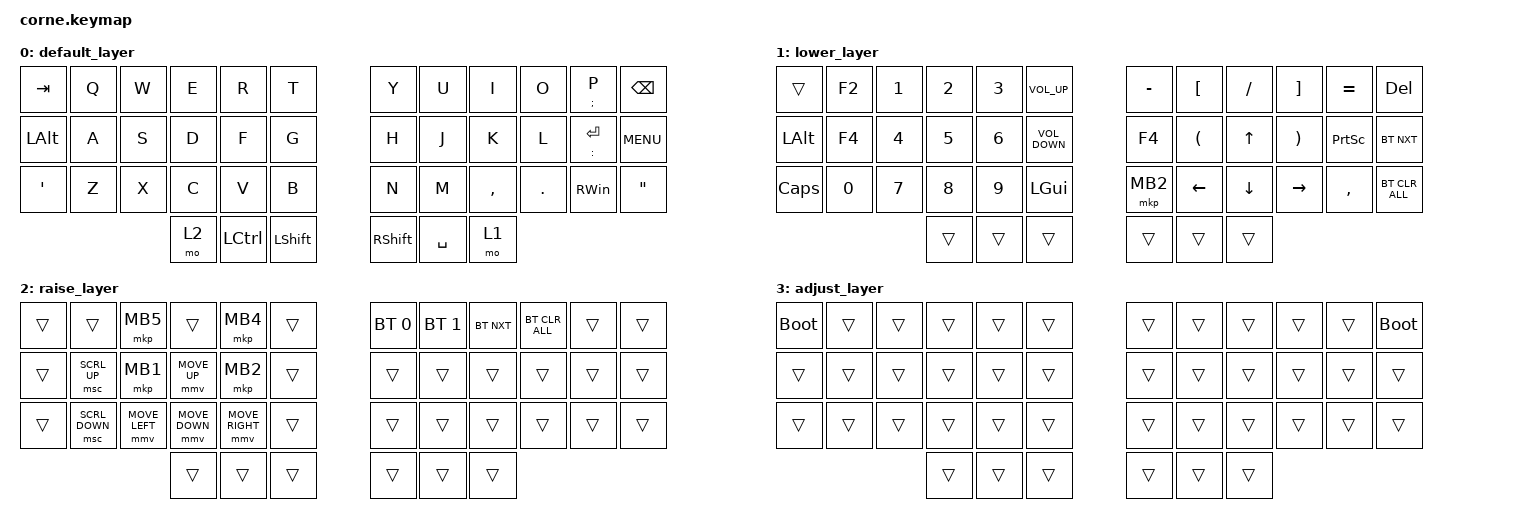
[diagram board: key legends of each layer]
/*
 * Copyright (c) 2020 The ZMK Contributors
 *
 * SPDX-License-Identifier: MIT
 */

#include <dt-bindings/zmk/mouse.h>
#include <behaviors.dtsi>
#include <dt-bindings/zmk/bt.h>
#include <dt-bindings/zmk/keys.h>
#include <dt-bindings/zmk/pointing.h>

/ {
    conditional_layers {
        compatible = "zmk,conditional-layers";

        adjust {
            if-layers = <1 2>;
            then-layer = <3>;
        };
    };

    behaviors {
        hold_tap: hold_tap {
            compatible = "zmk,behavior-hold-tap";
            label = "HOLD_TAP";
            bindings = <&kp>, <&kp>;

            #binding-cells = <2>;
            tapping-term-ms = <150>;
            flavor = "balanced";
        };
    };

    keymap {
        compatible = "zmk,keymap";

        default_layer {
            // -----------------------------------------------------------------------------------------
            // |  TAB |  Q  |  W  |  E  |  R  |  T  |   |  Y  |  U   |  I  |  O  |  P  | BKSP |
            // | CTRL |  A  |  S  |  D  |  F  |  G  |   |  H  |  J   |  K  |  L  |  ;  |  '   |
            // | SHFT |  Z  |  X  |  C  |  V  |  B  |   |  N  |  M   |  ,  |  .  |  /  | ESC  |
            //                    | GUI | LWR | SPC |   | ENT | RSE  | ALT |

            bindings = <
&kp TAB           &kp Q  &kp W  &kp E  &kp R      &kp T             &kp Y            &kp U      &kp I      &kp O    &hold_tap SEMI P       &kp BSPC
&kp LEFT_ALT      &kp A  &kp S  &kp D  &kp F      &kp G             &kp H            &kp J      &kp K      &kp L    &hold_tap COLON ENTER  &kp C_MENU
&kp SINGLE_QUOTE  &kp Z  &kp X  &kp C  &kp V      &kp B             &kp N            &kp M      &kp COMMA  &kp DOT  &kp RIGHT_WIN          &kp DOUBLE_QUOTES
                                &mo 2  &kp LCTRL  &kp LEFT_SHIFT    &kp RIGHT_SHIFT  &kp SPACE  &mo 1
            >;
        };

        lower_layer {
            // -----------------------------------------------------------------------------------------
            // |  TAB |  1  |  2  |  3  |  4  |  5  |   |  6  |  7  |  8  |  9  |  0  | BKSP |
            // | BTCLR| BT1 | BT2 | BT3 | BT4 | BT5 |   | LFT | DWN |  UP | RGT |     |      |
            // | SHFT |     |     |     |     |     |   |     |     |     |     |     |      |
            //                    | GUI |     | SPC |   | ENT |     | ALT |

            bindings = <
&trans        &kp F2  &kp NUMBER_1  &kp NUMBER_2  &kp NUMBER_3  &kp C_VOLUME_UP      &kp MINUS  &kp LEFT_BRACKET      &kp SLASH       &kp RIGHT_BRACKET      &kp EQUAL        &kp DELETE
&kp LEFT_ALT  &kp F4  &kp NUMBER_4  &kp N5        &kp NUMBER_6  &kp C_VOLUME_DOWN    &kp F4     &kp LEFT_PARENTHESIS  &kp UP          &kp RIGHT_PARENTHESIS  &kp PRINTSCREEN  &bt BT_NXT
&kp CAPS      &kp N0  &kp N7        &kp N8        &kp N9        &kp LEFT_GUI         &mkp MB2   &kp LEFT_ARROW        &kp DOWN_ARROW  &kp RIGHT              &kp COMMA        &bt BT_CLR_ALL
                                    &trans        &trans        &trans               &trans     &trans                &trans
            >;
        };

        raise_layer {
            // -----------------------------------------------------------------------------------------
            // |  TAB |  !  |  @  |  #  |  $  |  %  |   |  ^  |  &  |  *  |  (  |  )  | BKSP |
            // | CTRL |     |     |     |     |     |   |  -  |  =  |  [  |  ]  |  \  |  `   |
            // | SHFT |     |     |     |     |     |   |  _  |  +  |  {  |  }  | "|" |  ~   |
            //                    | GUI |     | SPC |   | ENT |     | ALT |

            bindings = <
&trans  &trans          &mkp MB5        &trans          &mkp MB4         &trans    &bt BT_SEL 0  &bt BT_SEL 1  &bt BT_NXT  &bt BT_CLR_ALL  &trans  &trans
&trans  &msc SCRL_UP    &mkp MB1        &mmv MOVE_UP    &mkp MB2         &trans    &trans        &trans        &trans      &trans          &trans  &trans
&trans  &msc SCRL_DOWN  &mmv MOVE_LEFT  &mmv MOVE_DOWN  &mmv MOVE_RIGHT  &trans    &trans        &trans        &trans      &trans          &trans  &trans
                                        &trans          &trans           &trans    &trans        &trans        &trans
            >;
        };

        adjust_layer {
            bindings = <
&bootloader  &trans  &trans  &trans  &trans  &trans    &trans  &trans  &trans  &trans  &trans  &bootloader
&trans       &trans  &trans  &trans  &trans  &trans    &trans  &trans  &trans  &trans  &trans  &trans
&trans       &trans  &trans  &trans  &trans  &trans    &trans  &trans  &trans  &trans  &trans  &trans
                             &trans  &trans  &trans    &trans  &trans  &trans
            >;
        };
    };
};
